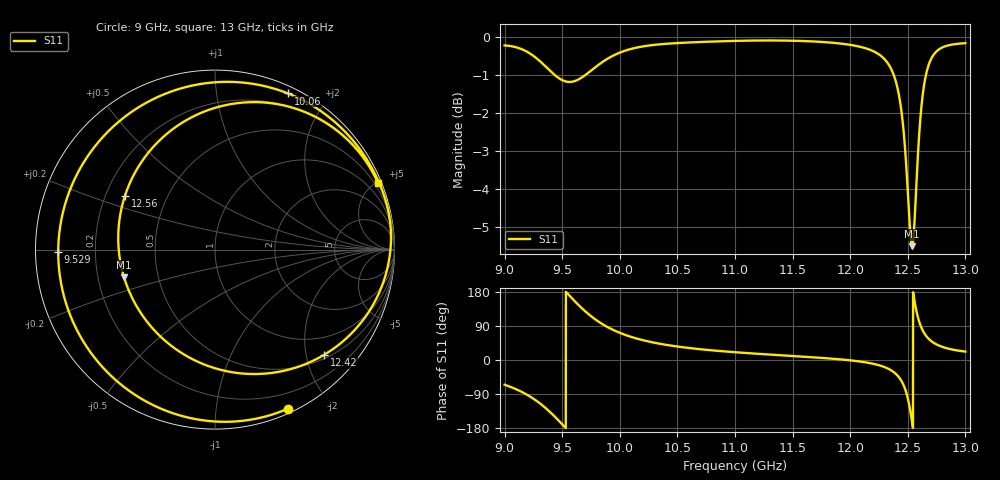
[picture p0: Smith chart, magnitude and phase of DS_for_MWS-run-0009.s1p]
! TOUCHSTONE file generated by CST DESIGN STUDIO
! Date and time: Tue Feb  4 16:25:48 2025
! Project name: C:\Work\MatlabApps\UnitCellOptimizationMatlab\CST\unitcell.cst
! Tree item: Tasks\Sweep1\SPara1\S-Parameters
! Header version: 2024
! Port assignment regex: !\s*Touchstone port\s*([0-9]+)\s*=\s*(CST MWS port|CST DES external port|CST DES block port)\s*(.+)\s* \(\"(.*)\"\)(\s*mode\s*([0-9]+))?.*
! Touchstone port assignment:
! Touchstone port 1 = CST DES external port 1 ("")
# GHz S MA R 50
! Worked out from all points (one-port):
!   4001 points, 9 GHz to 13 GHz, reference 50 ohm
!   lowest |S11| = -5.5 dB at 12.54 GHz (marker M1), VSWR 3.25, Z = 15.7 - j6.7 ohm
!   |S11| at or under -10 dB: nowhere
!   S11 on the Smith chart (normalised r, x): 9 GHz: 0.04, -1.56; 9.529 GHz: 0.07, -0.01; 10.06 GHz: 0.07, +1.57; 12.42 GHz: 0.58, -2.36; 12.56 GHz: 0.28, +0.26; 13 GHz: 0.26, +5.10
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9  0.9745 -65.4
9.168  0.9605 -87.2
9.284  0.9353 -109.3
9.387  0.9046 -135.2
9.5  0.877 -169.7
9.529  0.8736 -179.1
9.621  0.8759 151.4
9.745  0.9014 116.9
9.856  0.9281 93.4
10  0.9534 71.7
10.059  0.9604 64.9
10.251  0.9741 48.7
10.5  0.9814 35.5
11  0.9879 20.5
11.5  0.9885 10.6
12  0.9761 -0.9
12.292  0.9367 -18.0
12.419  0.8446 -44.0
12.469  0.7354 -70.4
12.5  0.6254 -100.9
12.537  0.5298 -163.1
12.562  0.5844 149.2
12.589  0.7034 111.3
12.616  0.8027 86.9
12.659  0.893 63.7
12.71  0.9399 48.4
12.816  0.9709 33.0
13  0.9812 22.1
